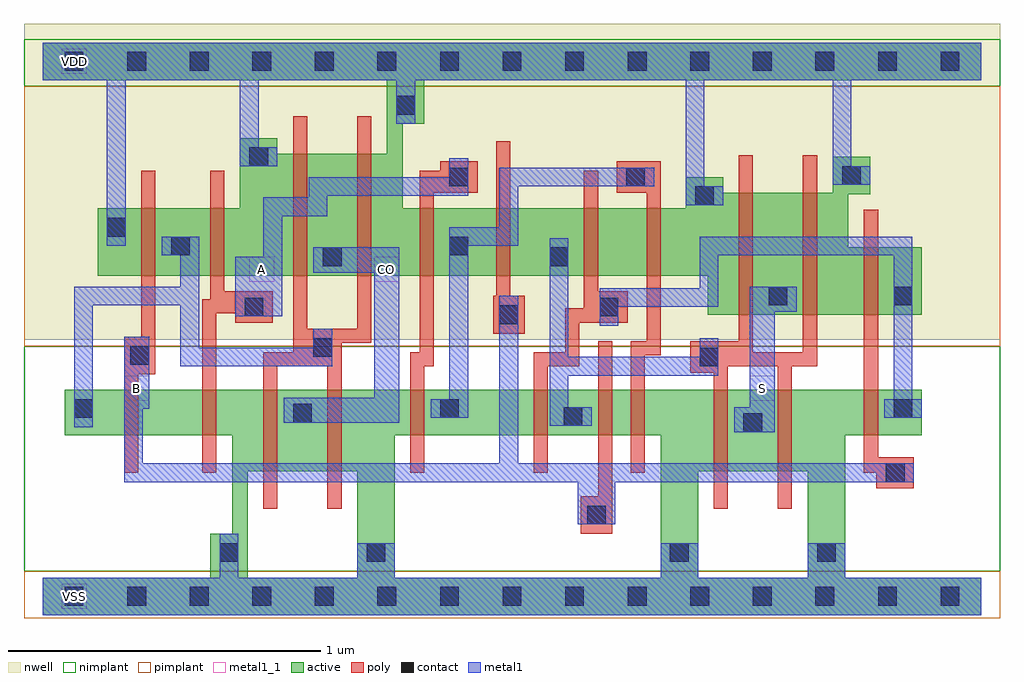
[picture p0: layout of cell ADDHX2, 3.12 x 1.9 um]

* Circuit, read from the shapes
.subckt ADDHX2 A B CO S VDD VSS
M1 n1 B n2 VSS nfet w=0.145u l=0.045u
M2 VSS A n1 VSS nfet w=0.145u l=0.045u
M3 CO n2 VSS VSS nfet w=0.26u l=0.045u m=2
M4 n3 A VSS VSS nfet w=0.145u l=0.045u
M5 n4 n5 n3 VSS nfet w=0.145u l=0.045u
M6 n6 B n4 VSS nfet w=0.145u l=0.045u
M7 VSS n3 n6 VSS nfet w=0.145u l=0.045u
M8 S n4 VSS VSS nfet w=0.26u l=0.045u m=2
M9 n5 B VSS VSS nfet w=0.145u l=0.045u
M10 n2 B VDD VDD pfet w=0.215u l=0.045u
M11 VDD A n2 VDD pfet w=0.215u l=0.045u
M12 CO n2 VDD VDD pfet w=0.39u l=0.045u m=2
M13 n3 A VDD VDD pfet w=0.215u l=0.045u
M14 n4 B n3 VDD pfet w=0.215u l=0.045u
M15 n7 n5 n4 VDD pfet w=0.215u l=0.045u
M16 VDD n3 n7 VDD pfet w=0.215u l=0.045u
M17 S n4 VDD VDD pfet w=0.39u l=0.045u m=2
M18 n5 B VDD VDD pfet w=0.215u l=0.045u
.ends

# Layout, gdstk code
import gdstk
lib = gdstk.Library(unit=1e-6, precision=5e-10)
def R(c, l, rs):  # rectangles x0, y0, x1, y1
    for r in rs: c.add(gdstk.rectangle(r[:2], r[2:], *l))
def A(c, l, x, y, w, h, nx, ny, dx, dy):  # array of equal rectangles
    R(c, l, [(x+i*dx, y+j*dy, x+i*dx+w, y+j*dy+h) for i in range(nx) for j in range(ny)])
def P(c, l, *ps):  # polygons
    for p in ps: c.add(gdstk.Polygon(p, *l))
active = (1, 0)
nwell = (2, 0)
poly = (3, 0)
nimplant = (4, 0)
pimplant = (5, 0)
contact = (6, 0)
metal1 = (7, 0)
metal1_1 = (7, 1)

addhx2 = lib.new_cell('ADDHX2')
P(addhx2, active, [(0,1.77),(3,1.77),(3,1.65),(1.22,1.65),(1.22,1.51),(1.15,1.51),(1.15,1.24),(2.055,1.24),(2.055,1.34),(2.175,1.34),(2.175,1.29),(2.525,1.29),(2.525,1.405),(2.645,1.405),(2.645,1.285),(2.575,1.285),(2.575,1.115),(2.81,1.115),(2.81,0.9),(2.125,0.9),(2.125,1.025),(0.175,1.025),(0.175,1.24),(0.63,1.24),(0.63,1.465),(0.75,1.465),(0.75,1.415),(1.1,1.415),(1.1,1.65),(0,1.65)],
  [(0.07,0.66),(2.81,0.66),(2.81,0.515),(2.565,0.515),(2.565,0.06),(3,0.06),(3,-0.06),(0,-0.06),(0,0.06),(0.535,0.06),(0.535,0.2),(0.605,0.2),(0.605,0.4),(0.655,0.4),(0.655,0.06),(1.005,0.06),(1.005,0.4),(0.605,0.4),(0.605,0.515),(1.125,0.515),(1.125,0.06),(1.975,0.06),(1.975,0.4),(2.095,0.4),(2.095,0.06),(2.445,0.06),(2.445,0.4),(1.975,0.4),(1.975,0.515),(0.07,0.515)])
R(addhx2, nwell, [(-0.06,0.82,3.06,1.83)])
P(addhx2, poly, [(0.8,1.535),(0.845,1.535),(0.845,0.855),(1.005,0.855),(1.005,1.535),(1.05,1.535),(1.05,0.81),(0.955,0.81),(0.955,0.28),(0.91,0.28),(0.91,0.735),(0.75,0.735),(0.75,0.28),(0.705,0.28),(0.705,0.78),(0.8,0.78)],
  [(0.315,1.36),(0.36,1.36),(0.36,0.71),(0.305,0.71),(0.305,0.395),(0.26,0.395),(0.26,0.83),(0.315,0.83)],
  [(0.535,1.36),(0.58,1.36),(0.58,0.975),(0.735,0.975),(0.735,0.875),(0.615,0.875),(0.615,0.905),(0.555,0.905),(0.555,0.395),(0.51,0.395),(0.51,0.95),(0.535,0.95)],
  [(1.27,1.39),(1.39,1.39),(1.39,1.29),(1.25,1.29),(1.25,0.735),(1.22,0.735),(1.22,0.395),(1.175,0.395),(1.175,0.78),(1.205,0.78),(1.205,1.36),(1.27,1.36)],
  [(1.835,1.39),(1.975,1.39),(1.975,0.77),(1.925,0.77),(1.925,0.395),(1.88,0.395),(1.88,0.815),(1.93,0.815),(1.93,1.29),(1.835,1.29)],
  [(1.45,1.455),(1.495,1.455),(1.495,0.96),(1.54,0.96),(1.54,0.84),(1.44,0.84),(1.44,0.96),(1.45,0.96)],
  [(1.73,1.36),(1.775,1.36),(1.775,0.975),(1.87,0.975),(1.87,0.875),(1.715,0.875),(1.715,0.735),(1.615,0.735),(1.615,0.395),(1.57,0.395),(1.57,0.78),(1.67,0.78),(1.67,0.92),(1.73,0.92)],
  [(2.225,1.41),(2.27,1.41),(2.27,0.78),(2.43,0.78),(2.43,1.41),(2.475,1.41),(2.475,0.735),(2.395,0.735),(2.395,0.28),(2.35,0.28),(2.35,0.735),(2.19,0.735),(2.19,0.28),(2.145,0.28),(2.145,0.715),(2.07,0.715),(2.07,0.815),(2.225,0.815)],
  [(2.625,1.235),(2.67,1.235),(2.67,0.445),(2.785,0.445),(2.785,0.345),(2.665,0.345),(2.665,0.395),(2.625,0.395)],
  [(1.775,0.815),(1.82,0.815),(1.82,0.2),(1.72,0.2),(1.72,0.32),(1.775,0.32)])
R(addhx2, nimplant, [(-0.06,0.08,3.06,0.8), (-0.06,1.63,3.06,1.78)])
R(addhx2, pimplant, [(-0.06,-0.07,3.06,0.08), (-0.06,0.8,3.06,1.63)])
A(addhx2, contact, 0.07, -0.03, 0.06, 0.06, 15, 2, 0.2, 1.71)
R(addhx2, contact, [(0.565,0.11,0.625,0.17), (1.035,0.11,1.095,0.17), (2.005,0.11,2.065,0.17), (2.475,0.11,2.535,0.17), (1.74,0.23,1.8,0.29), (2.695,0.365,2.755,0.425), (2.24,0.525,2.3,0.585), (1.665,0.545,1.725,0.605), (0.8,0.555,0.86,0.615), (0.1,0.57,0.16,0.63), (1.27,0.57,1.33,0.63), (2.72,0.57,2.78,0.63), (2.1,0.735,2.16,0.795), (0.28,0.74,0.34,0.8), (0.865,0.765,0.925,0.825), (1.46,0.87,1.52,0.93), (0.645,0.895,0.705,0.955), (1.78,0.895,1.84,0.955), (2.32,0.93,2.38,0.99), (2.72,0.93,2.78,0.99), (0.895,1.055,0.955,1.115), (1.62,1.055,1.68,1.115), (0.41,1.09,0.47,1.15), (1.3,1.09,1.36,1.15), (0.205,1.15,0.265,1.21), (2.085,1.25,2.145,1.31), (1.3,1.31,1.36,1.37), (1.865,1.31,1.925,1.37), (2.555,1.315,2.615,1.375), (0.66,1.375,0.72,1.435), (1.13,1.54,1.19,1.6)])
P(addhx2, metal1, [(0,1.77),(3,1.77),(3,1.65),(2.585,1.65),(2.585,1.375),(2.645,1.375),(2.645,1.315),(2.525,1.315),(2.525,1.65),(2.115,1.65),(2.115,1.31),(2.175,1.31),(2.175,1.25),(2.055,1.25),(2.055,1.65),(1.19,1.65),(1.19,1.51),(1.13,1.51),(1.13,1.65),(0.69,1.65),(0.69,1.435),(0.75,1.435),(0.75,1.375),(0.63,1.375),(0.63,1.65),(0.265,1.65),(0.265,1.12),(0.205,1.12),(0.205,1.65),(0,1.65)],
  [(1.3,1.4),(1.36,1.4),(1.36,1.28),(0.91,1.28),(0.91,1.215),(0.765,1.215),(0.765,0.895),(0.615,0.895),(0.615,1.085),(0.705,1.085),(0.705,1.275),(0.85,1.275),(0.85,1.34),(1.3,1.34)],
  [(1.46,1.37),(1.955,1.37),(1.955,1.31),(1.52,1.31),(1.52,1.12),(1.36,1.12),(1.36,0.57),(1.24,0.57),(1.24,0.63),(1.3,0.63),(1.3,1.18),(1.46,1.18)],
  [(0.38,1.15),(0.5,1.15),(0.5,0.795),(0.865,0.795),(0.865,0.855),(0.925,0.855),(0.925,0.735),(0.44,0.735),(0.44,0.93),(0.16,0.93),(0.16,0.54),(0.1,0.54),(0.1,0.99),(0.44,0.99),(0.44,1.09),(0.38,1.09)],
  [(0.865,1.115),(1.14,1.115),(1.14,0.555),(0.77,0.555),(0.77,0.635),(1.06,0.635),(1.06,1.035),(0.865,1.035)],
  [(0.26,0.83),(0.34,0.83),(0.34,0.6),(0.32,0.6),(0.32,0.425),(1.46,0.425),(1.46,0.96),(1.52,0.96),(1.52,0.425),(2.785,0.425),(2.785,0.365),(1.83,0.365),(1.83,0.23),(1.71,0.23),(1.71,0.365),(0.26,0.365)],
  [(1.62,1.145),(1.68,1.145),(1.68,0.765),(2.1,0.765),(2.1,0.825),(2.16,0.825),(2.16,0.705),(1.68,0.705),(1.68,0.605),(1.755,0.605),(1.755,0.545),(1.62,0.545)],
  [(2.1,1.15),(2.78,1.15),(2.78,0.63),(2.81,0.63),(2.81,0.57),(2.69,0.57),(2.69,0.63),(2.72,0.63),(2.72,1.09),(2.16,1.09),(2.16,0.925),(1.84,0.925),(1.84,0.865),(1.78,0.865),(1.78,0.985),(2.1,0.985)],
  [(2.26,0.99),(2.41,0.99),(2.41,0.91),(2.34,0.91),(2.34,0.525),(2.21,0.525),(2.21,0.605),(2.26,0.605)],
  [(0.565,0.2),(0.625,0.2),(0.625,0.06),(1.005,0.06),(1.005,0.17),(1.125,0.17),(1.125,0.06),(1.975,0.06),(1.975,0.17),(2.095,0.17),(2.095,0.06),(2.445,0.06),(2.445,0.17),(2.565,0.17),(2.565,0.06),(3,0.06),(3,-0.06),(0,-0.06),(0,0.06),(0.565,0.06)])
R(addhx2, metal1_1, [(0.06,-0.04,0.14,0.04), (0.26,0.625,0.34,0.705), (2.26,0.625,2.34,0.705), (0.66,1.005,0.74,1.085), (1.06,1.005,1.14,1.085), (0.06,1.67,0.14,1.75)])
addhx2.add(gdstk.Label('S', (2.3,0.665), layer=7, texttype=1))
addhx2.add(gdstk.Label('CO', (1.1,1.045), layer=7, texttype=1))
addhx2.add(gdstk.Label('A', (0.7,1.045), layer=7, texttype=1))
addhx2.add(gdstk.Label('B', (0.3,0.665), layer=7, texttype=1))
addhx2.add(gdstk.Label('VDD', (0.1,1.71), layer=7, texttype=1))
addhx2.add(gdstk.Label('VSS', (0.1,0), layer=7, texttype=1))
addhx2.add(gdstk.Label('ADDHX2', (0,0), layer=63, texttype=0))

lib.write_gds('ADDHX2.gds')
